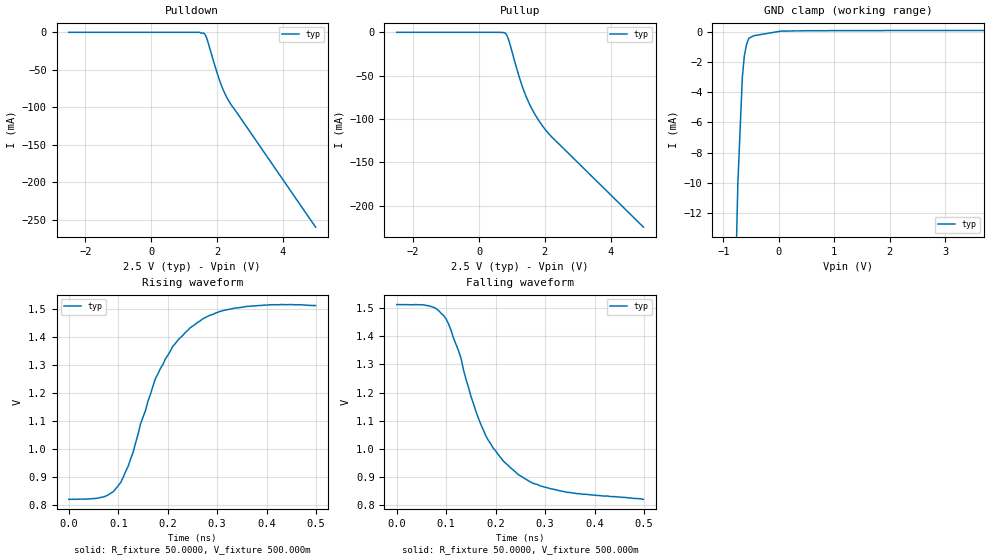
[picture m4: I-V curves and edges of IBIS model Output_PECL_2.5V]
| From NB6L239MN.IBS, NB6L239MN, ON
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[Model] Output_PECL_2.5V
Model_type Output_ECL
Vref  = 0.50000V
Rref  = 50.0000ohms
Cref  = 0.00000pF
Vmeas = 1.1668V
C_comp  1.13000pF  1.13000pF  1.13000pF
| variable   typ   NA  NA
[Voltage Range]   2.50000V  NA  NA
[POWER Clamp Reference]  2.50000V  NA  NA
[Pullup Reference]   2.50000V  NA  NA
[Pulldown Reference]   2.50000V  NA  NA
[GND Clamp Reference]   0.00000V  NA  NA
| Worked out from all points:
|   GND clamp passes 1 mA (typ) near -0.59 V on its own axis
|   falling waveform, R_fixture 50.0000, V_fixture 500.000m: 20-80 % time 95.3ps typ, NA min, NA max; typ from 1.51 V to 0.821 V
|   rising waveform, R_fixture 50.0000, V_fixture 500.000m: 20-80 % time 90.1ps typ, NA min, NA max; typ from 0.821 V to 1.51 V
[GND Clamp]
-2.5V     -284.9mA   NA         NA
-739.8mV  -10.04mA   NA         NA
-658.9mV  -3.027mA   NA         NA
-623.7mV  -1.624mA   NA         NA
-582.7mV  -836.2uA   NA         NA
-542.4mV  -439.4uA   NA         NA
-452mV    -264.7uA   NA         NA
41.24mV   39.83uA    NA         NA
279.3mV   54.92uA    NA         NA
5V        80.85uA    NA         NA
[Pulldown]
-2.5V     0A         NA         NA
1.477V    0A         NA         NA
1.599V    -1.007mA   NA         NA
1.639V    -2.834mA   NA         NA
1.679V    -6.493mA   NA         NA
1.72V     -11.75mA   NA         NA
1.958V    -47.24mA   NA         NA
2.119V    -68.7mA    NA         NA
2.241V    -81.48mA   NA         NA
2.357V    -91.15mA   NA         NA
5V        -259.8mA   NA         NA
[Pullup]
-2.5V     0A         NA         NA
597.8mV   0A         NA         NA
800.5mV   -1.106mA   NA         NA
840.5mV   -2.952mA   NA         NA
881.2mV   -6.511mA   NA         NA
1.199V    -48.63mA   NA         NA
1.28V     -58.6mA    NA         NA
1.401V    -71.27mA   NA         NA
1.639V    -90.56mA   NA         NA
1.917V    -107.3mA   NA         NA
2.241V    -122mA     NA         NA
5V        -224.9mA   NA         NA
[POWER Clamp]
| Voltage   I(typ)   NA  NA
-2.5V     0A         NA         NA
-2V       0A         NA         NA
-1.5V     0A         NA         NA
5V        0A         NA         NA
[Falling Waveform]
R_fixture = 50.0000
V_fixture = 500.000m
0s        1.512V     NA         NA
65ps      1.507V     NA         NA
95ps      1.473V     NA         NA
125ps     1.348V     NA         NA
150ps     1.186V     NA         NA
180ps     1.047V     NA         NA
215ps     958.2mV    NA         NA
245ps     910.1mV    NA         NA
345ps     846.1mV    NA         NA
499ps     821.5mV    NA         NA
[Rising Waveform]
R_fixture = 50.0000
V_fixture = 500.000m
0s        821.5mV    NA         NA
70ps      829.9mV    NA         NA
105ps     881.6mV    NA         NA
130ps     989.6mV    NA         NA
145ps     1.091V     NA         NA
175ps     1.251V     NA         NA
210ps     1.366V     NA         NA
245ps     1.433V     NA         NA
335ps     1.503V     NA         NA
499ps     1.512V     NA         NA
[Ramp]
| variable typ min max
dV/dt_r 412.733m/91.2527p NA NA
dV/dt_f 412.733m/95.4601p NA NA
R_load = 50.0000Ohms
